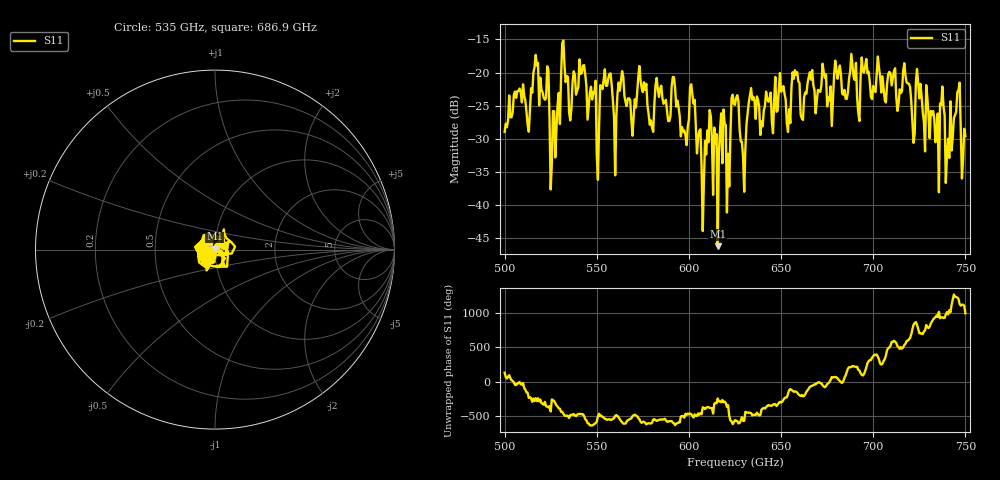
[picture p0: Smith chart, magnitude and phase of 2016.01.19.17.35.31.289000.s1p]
!Created with skrf (http://scikit-rf.org).
# GHz S RI R 50.0
!freq ReS11 ImS11
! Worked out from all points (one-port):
!   401 points, 500 GHz to 750 GHz, reference 50 ohm
!   lowest |S11| = -46.3 dB at 615.6 GHz (marker M1), VSWR 1.01, Z = 49.8 + j0.444 ohm
!   |S11| at or under -10 dB: start of sweep to end of sweep
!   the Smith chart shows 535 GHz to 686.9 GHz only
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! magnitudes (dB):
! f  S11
! 500 GHz  -29.0
! 512.5 GHz  -28.0
! 516.9 GHz  -17.3
! 526.2 GHz  -25.8
! 531.2 GHz  -15.6
! 541.9 GHz  -20.1
! 550 GHz  -32.5
! 553.1 GHz  -22.5
! 560 GHz  -35.5
! 562.5 GHz  -22.7
! 593.8 GHz  -24.2
! 598.1 GHz  -29.5
! 601.9 GHz  -23.3
! 608.1 GHz  -36.4
! 611.2 GHz  -25.7
! 615.6 GHz  -46.3
! 618.8 GHz  -25.6
! 621.2 GHz  -32.3
! 625 GHz  -24.9
! 629.4 GHz  -32.8
! 633.8 GHz  -22.4
! 656.2 GHz  -20.0
! 687.5 GHz  -19.8
! 718.8 GHz  -21.6
! 737.5 GHz  -22.1
! 740 GHz  -32.5
! 745.6 GHz  -23.0
! 750 GHz  -29.6
